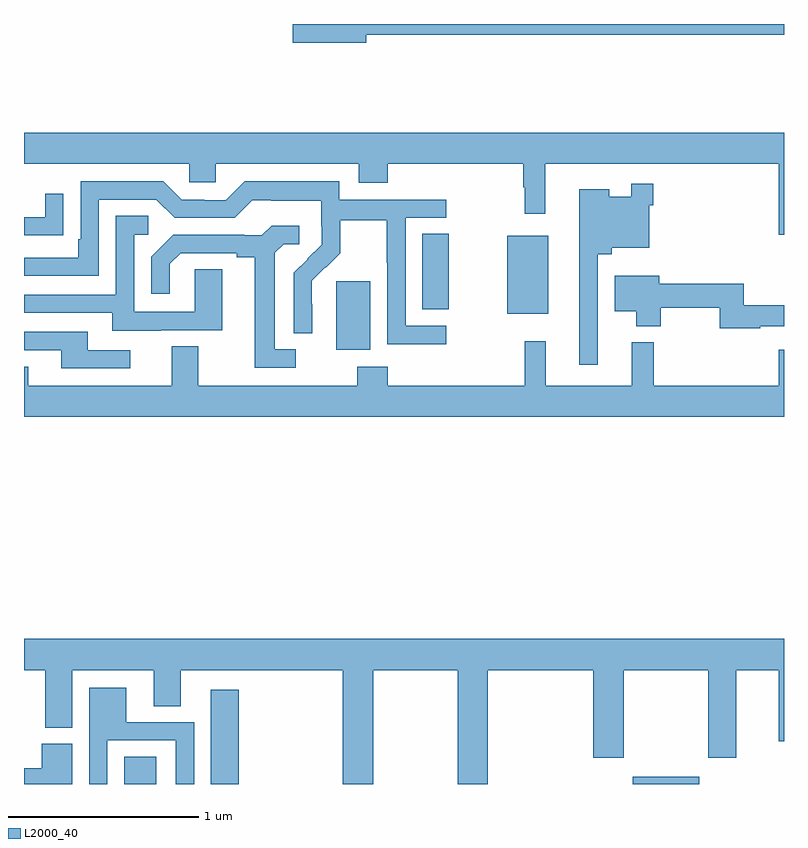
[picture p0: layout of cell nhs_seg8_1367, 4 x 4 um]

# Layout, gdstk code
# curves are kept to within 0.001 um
import gdstk
lib = gdstk.Library(unit=1e-6, precision=1e-09)
def R(c, l, rs):  # rectangles x0, y0, x1, y1
    for r in rs: c.add(gdstk.rectangle(r[:2], r[2:], *l))
def P(c, l, *ps):  # polygons
    for p in ps: c.add(gdstk.Polygon(p, *l))
L2000_40 = (2000, 40)

nhs_seg8_1367 = lib.new_cell('nhs_seg8_1367')
R(nhs_seg8_1367, L2000_40, [(197.528,1115.9,197.695,1116.044), (197.984,1115.9,198.131,1116.397), (200.204,1115.9,200.554,1115.938), (198.644,1118.186,198.823,1118.547), (199.544,1118.375,199.759,1118.785), (199.097,1118.398,199.236,1118.795)])
P(nhs_seg8_1367, L2000_40, [(198.802,1119.844),(201,1119.844),(201,1119.9),(198.414,1119.9),(198.414,1119.802),(198.802,1119.802)],
  [(201,1119.328),(197,1119.328),(197,1119.164),(197.871,1119.164),(197.871,1119.066),(198.009,1119.066),(198.009,1119.164),(198.761,1119.164),(198.761,1119.065),(198.914,1119.065),(198.914,1119.164),(199.627,1119.164),(199.627,1119.041),(199.635,1119.041),(199.635,1118.901),(199.744,1118.901),(199.744,1119.164),(200.972,1119.164),(200.972,1118.79),(201,1118.79)],
  [(199.222,1118.313),(199.008,1118.313),(199.008,1118.88),(199.222,1118.88),(199.222,1118.976),(198.66,1118.976),(198.66,1119.073),(198.163,1119.073),(198.063,1118.973),(197.948,1118.973),(197.948,1118.976),(197.829,1118.976),(197.733,1119.072),(197.298,1119.072),(197.298,1118.767),(197.285,1118.767),(197.285,1118.67),(197,1118.67),(197,1118.574),(197.394,1118.574),(197.394,1118.976),(197.697,1118.976),(197.793,1118.88),(198.108,1118.88),(198.201,1118.973),(198.301,1118.973),(198.301,1118.969),(198.564,1118.969),(198.564,1118.835),(198.566,1118.835),(198.566,1118.738),(198.42,1118.59),(198.42,1118.272),(198.516,1118.272),(198.515,1118.549),(198.585,1118.619),(198.588,1118.616),(198.665,1118.693),(198.665,1118.868),(198.91,1118.868),(198.91,1118.644),(198.912,1118.644),(198.912,1118.215),(199.222,1118.215)],
  [(200.019,1118.687),(200.093,1118.687),(200.093,1118.723),(200.292,1118.723),(200.292,1118.945),(200.312,1118.945),(200.312,1119.058),(200.196,1119.058),(200.196,1118.992),(200.08,1118.992),(200.08,1119.031),(199.922,1119.031),(199.922,1118.106),(200.019,1118.106)],
  [(197.105,1118.788),(197.207,1118.788),(197.207,1119.007),(197.111,1119.007),(197.111,1118.883),(197,1118.883),(197,1118.787),(197.105,1118.787)],
  [(197.719,1118.289),(198.043,1118.289),(198.043,1118.609),(197.898,1118.609),(197.898,1118.385),(197.58,1118.385),(197.58,1118.79),(197.653,1118.79),(197.653,1118.891),(197.484,1118.891),(197.484,1118.475),(197,1118.475),(197,1118.379),(197.465,1118.379),(197.465,1118.285),(197.719,1118.285)],
  [(198.43,1118.187),(198.319,1118.187),(198.319,1118.695),(198.366,1118.742),(198.448,1118.742),(198.448,1118.839),(198.304,1118.839),(198.252,1118.787),(198.158,1118.787),(198.158,1118.79),(197.786,1118.79),(197.67,1118.674),(197.67,1118.481),(197.767,1118.481),(197.767,1118.637),(197.824,1118.694),(198.119,1118.694),(198.119,1118.672),(198.215,1118.672),(198.215,1118.091),(198.43,1118.091)],
  [(200.876,1118.31),(201,1118.31),(201,1118.419),(200.789,1118.419),(200.789,1118.534),(200.344,1118.534),(200.344,1118.575),(200.108,1118.575),(200.108,1118.387),(200.222,1118.387),(200.222,1118.309),(200.352,1118.309),(200.352,1118.406),(200.661,1118.406),(200.661,1118.298),(200.876,1118.298)],
  [(197.56,1118.184),(197.335,1118.184),(197.335,1118.28),(197,1118.28),(197,1118.184),(197.195,1118.184),(197.195,1118.088),(197.56,1118.088)],
  [(201,1118.185),(200.972,1118.185),(200.972,1117.996),(200.315,1117.996),(200.315,1118.224),(200.198,1118.224),(200.198,1117.996),(199.745,1117.996),(199.745,1118.23),(199.635,1118.23),(199.635,1117.996),(198.914,1117.996),(198.914,1118.095),(198.754,1118.095),(198.754,1117.996),(197.917,1117.996),(197.917,1118.204),(197.777,1118.204),(197.777,1117.996),(197.023,1117.996),(197.023,1118.095),(197,1118.095),(197,1117.832),(201,1117.832)],
  [(198.837,1116.5),(199.282,1116.5),(199.282,1115.9),(199.442,1115.9),(199.442,1116.5),(199.997,1116.5),(199.997,1116.039),(200.157,1116.039),(200.157,1116.5),(200.602,1116.5),(200.602,1116.039),(200.749,1116.039),(200.749,1116.5),(200.972,1116.5),(200.972,1116.126),(201,1116.126),(201,1116.664),(197,1116.664),(197,1116.5),(197.111,1116.5),(197.111,1116.196),(197.254,1116.196),(197.254,1116.5),(197.684,1116.5),(197.684,1116.31),(197.824,1116.31),(197.824,1116.5),(198.677,1116.5),(198.677,1115.9),(198.837,1115.9)],
  [(197.439,1116.129),(197.799,1116.129),(197.799,1115.9),(197.895,1115.9),(197.895,1116.225),(197.539,1116.225),(197.539,1116.406),(197.343,1116.406),(197.343,1115.9),(197.439,1115.9)],
  [(197.254,1116.111),(197.093,1116.111),(197.093,1115.984),(197,1115.984),(197,1115.9),(197.254,1115.9)])

lib.write_gds('nhs_seg8_1367.gds')
